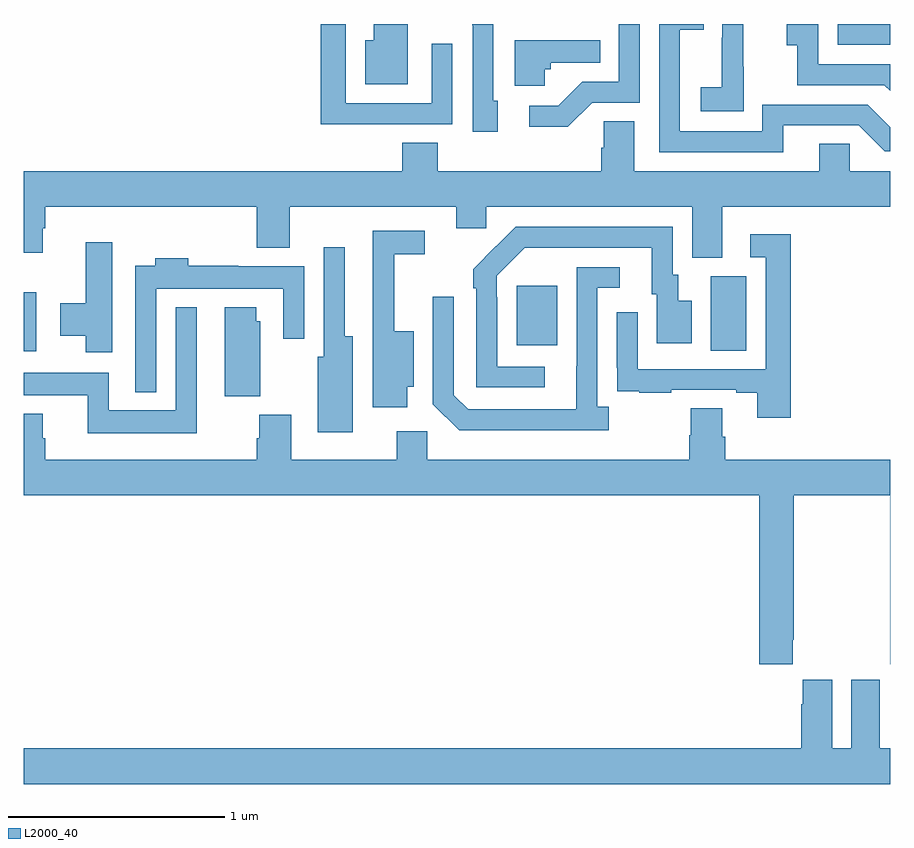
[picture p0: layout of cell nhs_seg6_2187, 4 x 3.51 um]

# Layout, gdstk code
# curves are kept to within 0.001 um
import gdstk
lib = gdstk.Library(unit=1e-6, precision=1e-09)
def R(c, l, rs):  # rectangles x0, y0, x1, y1
    for r in rs: c.add(gdstk.rectangle(r[:2], r[2:], *l))
def P(c, l, *ps):  # polygons
    for p in ps: c.add(gdstk.Polygon(p, *l))
L2000_40 = (2000, 40)

nhs_seg6_2187 = lib.new_cell('nhs_seg6_2187')
R(nhs_seg6_2187, L2000_40, [(241,959.99,241.057,960.262), (244.172,959.992,244.336,960.336), (243.275,960.017,243.463,960.292), (244.758,961.404,245,961.5)])
P(nhs_seg6_2187, L2000_40, [(243.624,961.137),(243.843,961.137),(243.843,961.5),(243.747,961.5),(243.747,961.233),(243.578,961.233),(243.467,961.122),(243.333,961.122),(243.333,961.025),(243.511,961.025)],
  [(244.507,961.032),(244.854,961.032),(244.974,960.912),(245,960.912),(245,961.024),(244.896,961.128),(244.41,961.128),(244.41,961.005),(244.029,961.005),(244.029,961.474),(244.139,961.474),(244.139,961.5),(243.933,961.5),(243.933,960.909),(244.507,960.909)],
  [(243.187,961.146),(243.168,961.146),(243.168,961.5),(243.07,961.5),(243.07,961.495),(243.072,961.495),(243.072,961.002),(243.187,961.002)],
  [(245,961.314),(244.668,961.314),(244.668,961.5),(244.521,961.5),(244.521,961.403),(244.57,961.403),(244.57,961.218),(244.973,961.218),(245,961.191)],
  [(244.323,961.303),(244.322,961.303),(244.322,961.5),(244.224,961.5),(244.224,961.436),(244.223,961.436),(244.223,961.207),(244.125,961.207),(244.125,961.097),(244.323,961.097)],
  [(242.663,961.038),(242.979,961.038),(242.979,961.408),(242.883,961.408),(242.883,961.134),(242.487,961.134),(242.487,961.5),(242.371,961.5),(242.371,961.037),(242.663,961.037)],
  [(242.773,961.5),(242.615,961.5),(242.615,961.426),(242.576,961.426),(242.576,961.223),(242.773,961.223)],
  [(243.405,961.29),(243.432,961.29),(243.432,961.322),(243.662,961.322),(243.662,961.426),(243.266,961.426),(243.266,961.214),(243.405,961.214)],
  [(244.225,960.656),(245,960.656),(245,960.82),(244.812,960.82),(244.812,960.947),(244.673,960.947),(244.673,960.82),(243.817,960.82),(243.817,961.052),(243.678,961.052),(243.678,960.929),(243.665,960.929),(243.665,960.82),(242.912,960.82),(242.912,960.953),(242.747,960.953),(242.747,960.82),(241,960.82),(241,960.444),(241.087,960.444),(241.087,960.558),(241.1,960.558),(241.1,960.656),(242.075,960.656),(242.075,960.467),(242.227,960.467),(242.227,960.656),(242.996,960.656),(242.996,960.558),(243.135,960.558),(243.135,960.656),(244.085,960.656),(244.085,960.421),(244.225,960.421)],
  [(243.406,959.919),(243.186,959.919),(243.186,960.239),(243.183,960.239),(243.183,960.339),(243.312,960.468),(243.899,960.468),(243.899,960.252),(243.923,960.252),(243.923,960.027),(244.084,960.027),(244.084,960.223),(244.021,960.223),(244.021,960.342),(243.996,960.342),(243.996,960.564),(243.272,960.564),(243.075,960.369),(243.075,960.281),(243.09,960.281),(243.09,959.823),(243.406,959.823)],
  [(242.77,959.825),(242.8,959.825),(242.8,960.082),(242.711,960.082),(242.711,960.438),(242.851,960.438),(242.851,960.546),(242.612,960.546),(242.612,959.73),(242.77,959.73)],
  [(244.541,960.529),(244.353,960.529),(244.353,960.423),(244.425,960.423),(244.425,959.907),(243.834,959.907),(243.834,960.169),(243.738,960.169),(243.738,959.914),(243.739,959.914),(243.739,959.805),(243.841,959.805),(243.841,959.799),(243.989,959.799),(243.989,959.811),(244.289,959.811),(244.289,959.799),(244.385,959.799),(244.385,959.682),(244.541,959.682)],
  [(241.408,960.493),(241.286,960.493),(241.286,960.21),(241.169,960.21),(241.169,960.062),(241.286,960.062),(241.286,959.985),(241.408,959.985)],
  [(242.518,960.058),(242.482,960.058),(242.482,960.469),(242.385,960.469),(242.385,959.964),(242.357,959.964),(242.357,959.616),(242.518,959.616)],
  [(241.611,960.278),(242.199,960.278),(242.199,960.048),(242.295,960.048),(242.295,960.382),(241.991,960.382),(241.991,960.385),(241.76,960.385),(241.76,960.418),(241.607,960.418),(241.607,960.385),(241.515,960.385),(241.515,959.801),(241.611,959.801)],
  [(243.7,959.734),(243.648,959.734),(243.648,960.282),(243.751,960.282),(243.751,960.378),(243.552,960.378),(243.551,959.721),(243.051,959.721),(242.985,959.787),(242.985,960.241),(242.889,960.241),(242.889,959.745),(243.01,959.624),(243.7,959.624)],
  [(242.092,960.129),(242.074,960.129),(242.074,960.193),(241.928,960.193),(241.928,959.782),(242.092,959.782)],
  [(241.798,960.193),(241.701,960.193),(241.701,959.716),(241.392,959.716),(241.392,959.89),(241,959.89),(241,959.786),(241.295,959.786),(241.295,959.612),(241.798,959.612)],
  [(244.549,958.657),(244.554,958.657),(244.554,959.324),(244.999,959.324),(244.999,958.545),(245,958.545),(245,959.488),(244.238,959.488),(244.238,959.594),(244.225,959.594),(244.225,959.726),(244.078,959.726),(244.078,959.601),(244.073,959.601),(244.073,959.488),(242.862,959.488),(242.862,959.62),(242.723,959.62),(242.723,959.488),(242.235,959.488),(242.235,959.697),(242.087,959.697),(242.087,959.588),(242.075,959.588),(242.075,959.488),(241.1,959.488),(241.1,959.589),(241.087,959.589),(241.087,959.701),(241,959.701),(241,959.324),(244.394,959.324),(244.394,958.545),(244.549,958.545)],
  [(245,958.156),(244.951,958.156),(244.951,958.474),(244.82,958.474),(244.82,958.156),(244.732,958.156),(244.732,958.474),(244.595,958.474),(244.595,958.361),(244.589,958.361),(244.589,958.156),(241,958.156),(241,957.992),(245,957.992)])

lib.write_gds('nhs_seg6_2187.gds')
